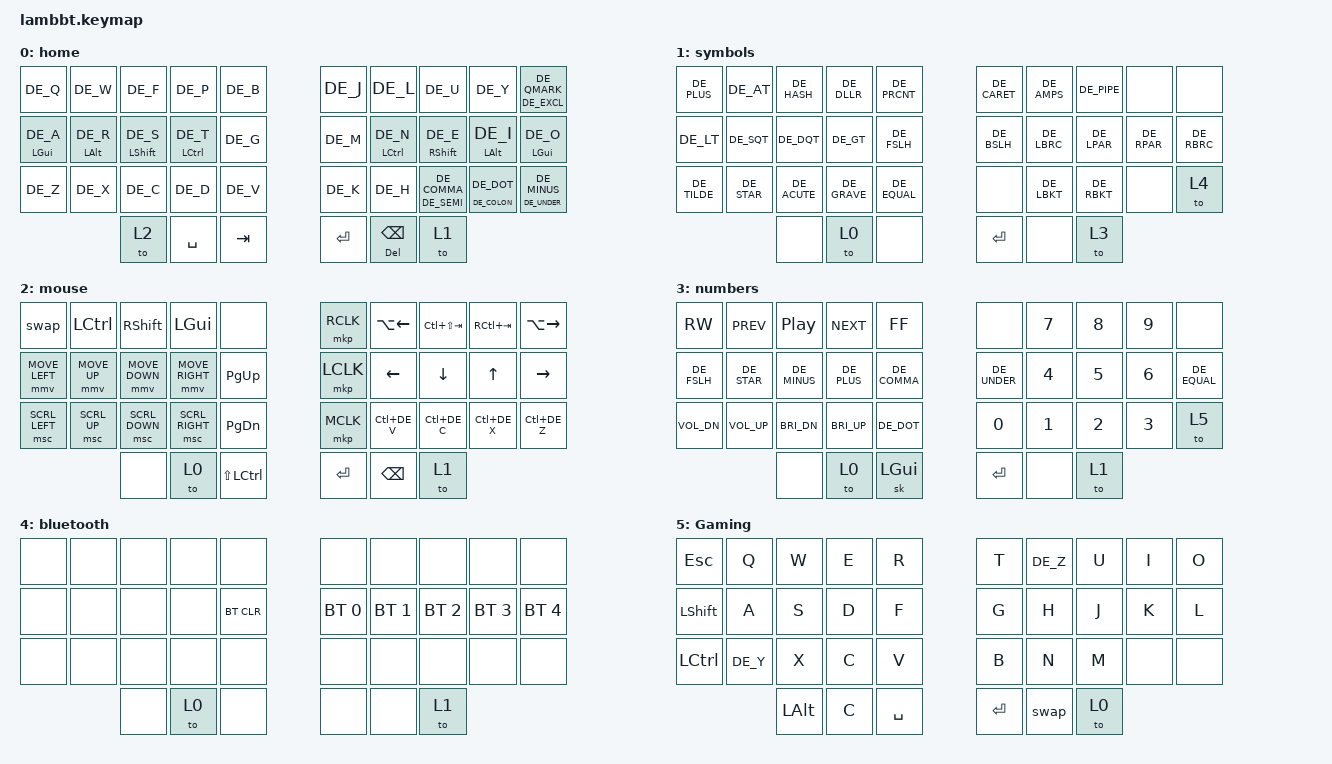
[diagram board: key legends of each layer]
#include "keys_de.h"
#include "zmk-helpers/helper.h"
#include "combos.dtsi"  // requires layer aliases
#include <behaviors.dtsi>
#include <dt-bindings/zmk/bt.h>
#include <dt-bindings/zmk/keys.h>
#include <dt-bindings/zmk/mouse.h>

//                KEY POSITIONS
// ╭──────────────╮ ╭──────────────╮
// │ 0  1  2  3  4│ │ 5  6  7  8  9│
// │10 11 12 13 14│ │15 16 17 18 19│
// │20 21 22 23 24│ │25 26 27 28 29│
// ╰─────╮30 31 32│ │33 34 35╭─────╯
//       ╰────────╯ ╰────────╯

//                                                               Layer 0
        //╭──────────┬──────────┬──────────┬──────────┬──────────╮   ╭──────────┬──────────┬──────────┬──────────┬──────────╮
        //│  Q       │  W       │  F       │  P       │  B       │   │  J       │  L       │  U       │  Y       │  !  ?    │
        //├──────────┼──────────┼──────────┼──────────┼──────────┤   ├──────────┼──────────┼──────────┼──────────┼──────────┤
        //│  GUI  A  │  ALT  R  │  SHFT  S │  CTRL  T │  G       │   │  M       │  CTRL  N │  SHFT  E │  ALT  I  │  GUI  O  │
        //├──────────┼──────────┼──────────┼──────────┼──────────┤   ├──────────┼──────────┼──────────┼──────────┼──────────┤
        //│  Z       │  X       │  C       │  D       │  V       │   │  K       │  H       │  ;  ,    │   :  .   │  _  -    │
        //╰──────────┴──────────┼──────────┼──────────┼──────────┤   ├──────────┼──────────┼──────────┼──────────┴──────────╯
        //                      │  Layer 2 │  SPACE   │  TAB     │   │  ENTER   │ DEL BKSP │  Layer 1 │
        //                      ╰──────────┴──────────┴──────────╯   ╰──────────┴──────────┴──────────╯
//                                                               Layer 1
        //╭──────────┬──────────┬──────────┬──────────┬──────────╮   ╭──────────┬──────────┬──────────┬──────────┬──────────╮
        //│  +       │  @       │  #       │  $       │  %       │   │  ^       │  &       │  |       │          │          │
        //├──────────┼──────────┼──────────┼──────────┼──────────┤   ├──────────┼──────────┼──────────┼──────────┼──────────┤
        //│  <       │  '       │  "       │  >       │  /       │   │  \       │  {       │  (       │  )       │  }       │
        //├──────────┼──────────┼──────────┼──────────┼──────────┤   ├──────────┼──────────┼──────────┼──────────┼──────────┤
        //│  ~       │  *       │  ´       │  `       │  =       │   │          │  [       │  ]       │          │  Layer 4 │
        //╰──────────┴──────────┼──────────┼──────────┼──────────┤   ├──────────┼──────────┼──────────┼──────────┴──────────╯
        //                      │          │  Layer 0 │          │   │  ENTER   │          │  Layer 3 │
        //                      ╰──────────┴──────────┴──────────╯   ╰──────────┴──────────┴──────────╯
//                                                               Layer 2
        //╭──────────┬──────────┬──────────┬──────────┬──────────╮   ╭──────────┬──────────┬──────────┬──────────┬──────────╮
        //│ ALT + TAB│  CTRL    │  SHFT    │  WIN     │          │   │  Rclick  │  Go back │ Prev Tab │ Next Tab │Go forward│
        //├──────────┼──────────┼──────────┼──────────┼──────────┤   ├──────────┼──────────┼──────────┼──────────┼──────────┤
        //│Mouse left│ Mouse up │Mouse down│Mouse right│ Page up │   │  Lclick  │     <    │     >    │     v    │     ^    │
        //├──────────┼──────────┼──────────┼──────────┼──────────┤   ├──────────┼──────────┼──────────┼──────────┼──────────┤
        //│ Scrl left│Scrl right│ Scrl down│  Scrl up │ Page down│   │  Mclick  │ CTRL + V │ CTRL + C │ CTRL + X │ CTRL + Z │
        //╰──────────┴──────────┼──────────┼──────────┼──────────┤   ├──────────┼──────────┼──────────┼──────────┴──────────╯
        //                      │          │  Layer 0 │SHFT+ CTRL│   │  ENTER   │  BKSP    │  Layer 1 │
        //                      ╰──────────┴──────────┴──────────╯   ╰──────────┴──────────┴──────────╯





#define QUICK_TAP_MS 175
#define KEYS_L 0 1 2 3 4 10 11 12 13 14 20 21 22 23 24   // left hand
#define KEYS_R 5 6 7 8 9 15 16 17 18 19 25 26 27 28 29   // right hand
#define THUMBS 30 31 32 33 34 35                         // thumbs

#define MAKE_HRM(NAME, HOLD, TAP, TRIGGER_POS) \
    ZMK_HOLD_TAP(NAME, \
        flavor = "balanced"; \
        tapping-term-ms = <280>; \
        quick-tap-ms = <QUICK_TAP_MS>; \
        require-prior-idle-ms = <150>; \
        bindings = <HOLD>, <TAP>; \
        hold-trigger-key-positions = <TRIGGER_POS>; \
        hold-trigger-on-release; \
    )

MAKE_HRM(hml, &kp, &kp, KEYS_R)  // left-hand HRMs
MAKE_HRM(hmr, &kp, &kp, KEYS_L)  // right-hand HRMs
MAKE_HRM(tt, &to, &kp, THUMBS) //thumb 
&mt {
    flavor = "tap-preferred";
    tapping_term_ms = <200>;
};

&mmv {
    time-to-max-speed-ms = <680>;
    acceleration-exponent = <2>;
};

/ {
    behaviors {
        swap: swapper {
            compatible = "zmk,behavior-tri-state";
            label = "SWAPPER";
            #binding-cells = <0>;
            bindings = <&kt LALT>, <&kp TAB>, <&kt LALT>;

            td: tapdance {
                compatible = "zmk,behavior-hold-tap";
                label = "TAPDANCE";
                #binding-cells = <2>;
                tapping-term-ms = <250>;
                quick_tap_ms = <0>;
                flavor = "tap-preferred";
                bindings = <&kp>, <&kp>;
            };
        };
    };

    keymap {
        compatible = "zmk,keymap";

        home {
            // layer 

            bindings = <
&kp DE_Q        &kp DE_W        &kp DE_F         &kp DE_P         &kp DE_B  &kp DE_J  &kp DE_L           &kp DE_U              &kp DE_Y             &td DE_EXCL DE_QMARK
&hml LGUI DE_A  &hml LALT DE_R  &hml LSHFT DE_S  &hml LCTRL DE_T  &kp DE_G  &kp DE_M  &hmr LCTRL DE_N    &hmr RSHFT DE_E       &hmr LALT DE_I       &hmr LGUI DE_O
&kp DE_Z        &kp DE_X        &kp DE_C         &kp DE_D         &kp DE_V  &kp DE_K  &kp DE_H           &td DE_SEMI DE_COMMA  &td DE_COLON DE_DOT  &td DE_UNDER DE_MINUS
                                &to 2            &kp SPACE        &kp TAB   &kp RET   &td DEL BACKSPACE  &to 1

        //╭──────────┬──────────┬──────────┬──────────┬──────────╮   ╭──────────┬──────────┬──────────┬──────────┬──────────╮
        //│  Q       │  W       │  F       │  P       │  B       │   │  J       │  L       │  U       │  Y       │  !  ?    │
        //├──────────┼──────────┼──────────┼──────────┼──────────┤   ├──────────┼──────────┼──────────┼──────────┼──────────┤
        //│  GUI  A  │  ALT  R  │  SHFT  S │  CTRL  T │  G       │   │  M       │  CTRL  N │  SHFT  E │  ALT  I  │  GUI  O  │
        //├──────────┼──────────┼──────────┼──────────┼──────────┤   ├──────────┼──────────┼──────────┼──────────┼──────────┤
        //│  Z       │  X       │  C       │  D       │  V       │   │  K       │  H       │  ;  ,    │   :  .   │  _  -    │
        //╰──────────┴──────────┼──────────┼──────────┼──────────┤   ├──────────┼──────────┼──────────┼──────────┴──────────╯
        //                      │  Layer 2 │  SPACE   │  TAB     │   │  ENTER   │ DEL BKSP │  Layer 1 │
        //                      ╰──────────┴──────────┴──────────╯   ╰──────────┴──────────┴──────────╯


            >;
        };

        symbols {
            // layer 1

            bindings = <
&kp DE_PLUS   &kp DE_AT    &kp DE_HASH   &kp DE_DLLR   &kp DE_PRCNT  &kp DE_CARET  &kp DE_AMPS  &kp DE_PIPE  &none        &none
&kp DE_LT     &kp DE_SQT   &kp DE_DQT    &kp DE_GT     &kp DE_FSLH   &kp DE_BSLH   &kp DE_LBRC  &kp DE_LPAR  &kp DE_RPAR  &kp DE_RBRC
&kp DE_TILDE  &kp DE_STAR  &kp DE_ACUTE  &kp DE_GRAVE  &kp DE_EQUAL  &none         &kp DE_LBKT  &kp DE_RBKT  &none        &to 4
                           &none         &to 0         &none         &kp RET       &none        &to 3

        //╭──────────┬──────────┬──────────┬──────────┬──────────╮   ╭──────────┬──────────┬──────────┬──────────┬──────────╮
        //│  +       │  @       │  #       │  $       │  %       │   │  ^       │  &       │  |       │          │          │
        //├──────────┼──────────┼──────────┼──────────┼──────────┤   ├──────────┼──────────┼──────────┼──────────┼──────────┤
        //│  <       │  '       │  "       │  >       │  /       │   │  \       │  {       │  (       │  )       │  }       │
        //├──────────┼──────────┼──────────┼──────────┼──────────┤   ├──────────┼──────────┼──────────┼──────────┼──────────┤
        //│  ~       │  *       │  ´       │  `       │  =       │   │          │  [       │  ]       │          │  Layer 4 │
        //╰──────────┴──────────┼──────────┼──────────┼──────────┤   ├──────────┼──────────┼──────────┼──────────┴──────────╯
        //                      │          │  Layer 0 │          │   │  ENTER   │          │  Layer 3 │
        //                      ╰──────────┴──────────┴──────────╯   ╰──────────┴──────────┴──────────╯


            >;
        };

        mouse {
            // layer 2

            bindings = <
&swap           &kp LCTRL       &kp RSHFT        &kp LGUI         &none                 &mkp RCLK  &kp LA(LEFT)   &kp LC(LS(TAB))  &kp RC(TAB)   &kp LA(RIGHT)
&mmv MOVE_LEFT  &mmv MOVE_UP    &mmv MOVE_DOWN   &mmv MOVE_RIGHT  &kp PG_UP             &mkp LCLK  &kp LEFT       &kp DOWN         &kp UP        &kp RIGHT
&msc SCRL_LEFT  &msc SCRL_UP    &msc SCRL_DOWN   &msc SCRL_RIGHT  &kp PG_DN             &mkp MCLK  &kp LC(DE_V)   &kp LC(DE_C)     &kp LC(DE_X)  &kp LC(DE_Z)
                                &none         &to 0            &kp LS(LEFT_CONTROL)  &kp RET    &kp BACKSPACE  &to 1

        //╭──────────┬──────────┬──────────┬──────────┬──────────╮   ╭──────────┬──────────┬──────────┬──────────┬──────────╮
        //│ ALT + TAB│  CTRL    │  SHFT    │  WIN     │          │   │  Rclick  │  Go back │ Prev Tab │ Next Tab │Go forward│
        //├──────────┼──────────┼──────────┼──────────┼──────────┤   ├──────────┼──────────┼──────────┼──────────┼──────────┤
        //│Mouse left│Mouse right│Mouse down│ Mouse up│ Page up  │   │  Lclick  │  Left    │  Right   │  Down    │  Up      │
        //├──────────┼──────────┼──────────┼──────────┼──────────┤   ├──────────┼──────────┼──────────┼──────────┼──────────┤
        //│ Scrl left│Scrl right│ Scrl down│  Scrl up │ Page down│   │  Mclick  │ CTRL + V │ CTRL + C │ CTRL + X │ CTRL + Z │
        //╰──────────┴──────────┼──────────┼──────────┼──────────┤   ├──────────┼──────────┼──────────┼──────────┴──────────╯
        //                      │          │  Layer 0 │SHFT+ CTRL│   │  ENTER   │  BKSP    │  Layer 1 │
        //                      ╰──────────┴──────────┴──────────╯   ╰──────────┴──────────┴──────────╯


            >;
        };

        numbers {
            // layer 3

            bindings = <
&kp C_RW      &kp C_PREV    &kp C_PP      &kp C_NEXT    &kp C_FF      &none         &kp N7  &kp N8  &kp N9  &none
&kp DE_FSLH   &kp DE_STAR   &kp DE_MINUS  &kp DE_PLUS   &kp DE_COMMA  &kp DE_UNDER  &kp N4  &kp N5  &kp N6  &kp DE_EQUAL
&kp C_VOL_DN  &kp C_VOL_UP  &kp C_BRI_DN  &kp C_BRI_UP  &kp DE_DOT    &kp N0        &kp N1  &kp N2  &kp N3  &to 5
                            &none         &to 0         &sk LGUI      &kp RET       &none   &to 1


        //╭──────────┬──────────┬──────────┬──────────┬──────────╮   ╭──────────┬──────────┬──────────┬──────────┬──────────╮
        //│          │          │          │          │          │   │          │          │          │          │          │
        //├──────────┼──────────┼──────────┼──────────┼──────────┤   ├──────────┼──────────┼──────────┼──────────┼──────────┤
        //│          │          │          │          │ BT CLEAR │   │  BT 0    │  BT 1    │  BT 2    │  BT 3    │  BT 4    │
        //├──────────┼──────────┼──────────┼──────────┼──────────┤   ├──────────┼──────────┼──────────┼──────────┼──────────┤
        //│          │          │          │          │          │   │          │          │          │          │          │
        //╰──────────┴──────────┼──────────┼──────────┼──────────┤   ├──────────┼──────────┼──────────┼──────────┴──────────╯
        //                      │          │          │          │   │          │          │          │
        //                      ╰──────────┴──────────┴──────────╯   ╰──────────┴──────────┴──────────╯


            >;
        };

        bluetooth {
            // layer 4

            bindings = <
&none  &none  &none  &none  &none       &none         &none         &none         &none         &none
&none  &none  &none  &none  &bt BT_CLR  &bt BT_SEL 0  &bt BT_SEL 1  &bt BT_SEL 2  &bt BT_SEL 3  &bt BT_SEL 4
&none  &none  &none  &none  &none       &none         &none         &none         &none         &none
              &none  &to 0  &none       &none         &none         &to 1


        //╭──────────┬──────────┬──────────┬──────────┬──────────╮   ╭──────────┬──────────┬──────────┬──────────┬──────────╮
        //│          │          │          │          │          │   │          │          │          │          │          │
        //├──────────┼──────────┼──────────┼──────────┼──────────┤   ├──────────┼──────────┼──────────┼──────────┼──────────┤
        //│          │          │          │          │ BT CLEAR │   │  BT 0    │  BT 1    │  BT 2    │  BT 3    │  BT 4    │
        //├──────────┼──────────┼──────────┼──────────┼──────────┤   ├──────────┼──────────┼──────────┼──────────┼──────────┤
        //│          │          │          │          │          │   │          │          │          │          │          │
        //╰──────────┴──────────┼──────────┼──────────┼──────────┤   ├──────────┼──────────┼──────────┼──────────┴──────────╯
        //                      │          │          │          │   │          │          │          │
        //                      ╰──────────┴──────────┴──────────╯   ╰──────────┴──────────┴──────────╯


            >;
        };

        fifth_layer {
            // layer 5

            display-name = "Gaming";
            bindings = <
&kp ESC    &kp Q     &kp W     &kp E  &kp R      &kp T    &kp DE_Z  &kp U  &kp I  &kp O
&kp LSHFT  &kp A     &kp S     &kp D  &kp F      &kp G    &kp H     &kp J  &kp K  &kp L
&kp LCTRL  &kp DE_Y  &kp X     &kp C  &kp V      &kp B    &kp N     &kp M  &none  &none
                     &kp LALT  &kp C  &kp SPACE  &kp RET  &swap     &to 0


        //╭──────────┬──────────┬──────────┬──────────┬──────────╮   ╭──────────┬──────────┬──────────┬──────────┬──────────╮
        //│  ESC     │  Q       │  W       │  E       │  R       │   │  T       │  Z       │  U       │  I       │  O       │
        //├──────────┼──────────┼──────────┼──────────┼──────────┤   ├──────────┼──────────┼──────────┼──────────┼──────────┤
        //│  SHFT    │  A       │  S       │  D       │  F       │   │  G       │  H       │  J       │  K       │   L      │
        //├──────────┼──────────┼──────────┼──────────┼──────────┤   ├──────────┼──────────┼──────────┼──────────┼──────────┤
        //│  CTRL    │  Y       │  X       │  C       │  V       │   │  B       │  N       │  M       │          │          │
        //╰──────────┴──────────┼──────────┼──────────┼──────────┤   ├──────────┼──────────┼──────────┼──────────┴──────────╯
        //                      │  ALT     │  C       │  SPACE   │   │  RET     │  ALT+TAB │  Layer 0 │
        //                      ╰──────────┴──────────┴──────────╯   ╰──────────┴──────────┴──────────╯


            >;
        };
    };
};
